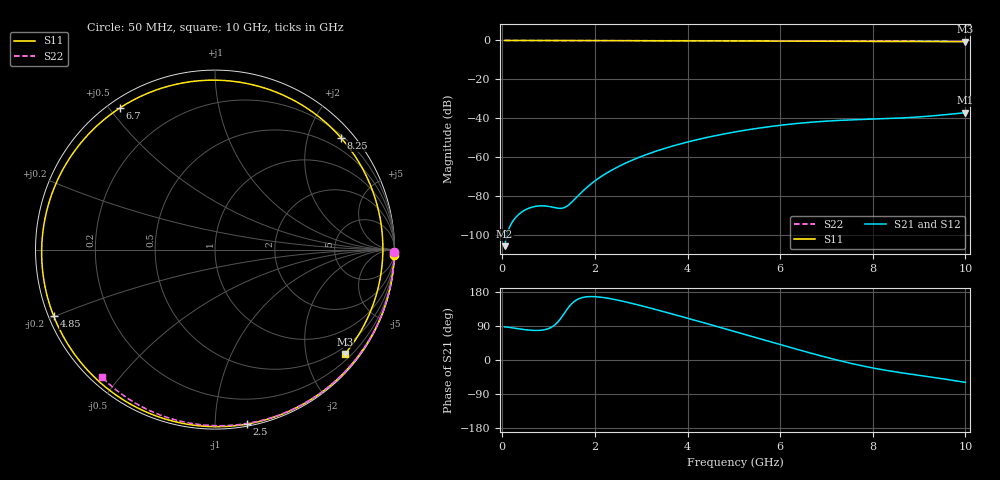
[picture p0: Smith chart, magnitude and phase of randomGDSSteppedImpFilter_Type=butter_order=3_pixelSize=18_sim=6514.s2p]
! freq	dB(S11)	phase(S11)	dB(S12)	phase(S12)
!  dB(S21)	phase(S21)	dB(S22)	phase(S22)
!S-par simulation data
#  GHz  S  DB  R 50
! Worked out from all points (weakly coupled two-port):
!   200 points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, 50 MHz to 10 GHz, reference 50 ohm
!   highest |S21| = -37.22 dB at 10 GHz (marker M1); lowest = -106.0 dB at 50 MHz (marker M2)
!   lowest |S11| = -0.6 dB at 10 GHz (marker M3), VSWR 26.90, Z = 16.7 - j140 ohm
!   |S11| at or under -10 dB: nowhere
!   |S22| runs from -0.4 to 0.0 dB; largest |S21 - S12| = 0
!   S11 on the Smith chart (normalised r, x): 50 MHz: 1, -70; 2.5 GHz: 0.01, -1.20; 4.85 GHz: 0.01, -0.20; 6.7 GHz: 0.03, +0.53; 8.25 GHz: 0.25, +2.62; 10 GHz: 0.33, -2.81
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0.05  -0.00 -1.6  -106.01 87.4  -106.01 87.4  -0.00 -0.8
0.8  -0.03 -25.8  -85.25 78.1  -85.25 78.1  -0.01 -12.1
1.6  -0.07 -51.3  -80.90 158.3  -80.90 158.3  -0.03 -24.0
1.75  -0.07 -56.0  -77.37 165.4  -77.37 165.4  -0.03 -26.2
2.1  -0.09 -67.1  -70.70 166.1  -70.70 166.1  -0.04 -31.3
2.5  -0.10 -79.7  -65.08 157.8  -65.08 157.8  -0.05 -37.1
3.4  -0.15 -108.3  -56.43 130.4  -56.43 130.4  -0.07 -49.9
4.1  -0.19 -131.3  -51.75 106.9  -51.75 106.9  -0.08 -59.5
4.85  -0.25 -157.5  -47.90 81.0  -47.90 81.0  -0.10 -69.6
5.05  -0.26 -164.9  -47.04 74.0  -47.04 74.0  -0.11 -72.2
5.5  -0.31 177.6  -45.31 58.3  -45.31 58.3  -0.13 -78.0
5.9  -0.35 160.9  -44.01 44.3  -44.01 44.3  -0.14 -83.1
6.3  -0.40 142.9  -42.94 30.4  -42.94 30.4  -0.16 -88.1
6.7  -0.44 123.7  -42.08 16.8  -42.08 16.8  -0.18 -93.1
7.1  -0.48 103.3  -41.43 3.9  -41.43 3.9  -0.20 -97.9
7.45  -0.51 84.7  -41.01 -6.6  -41.01 -6.6  -0.22 -102.1
7.85  -0.53 63.0  -40.66 -17.4  -40.66 -17.4  -0.25 -106.8
8.25  -0.55 41.5  -40.33 -26.6  -40.33 -26.6  -0.28 -111.5
8.35  -0.55 36.3  -40.24 -28.6  -40.24 -28.6  -0.29 -112.7
8.7  -0.57 18.3  -39.84 -35.3  -39.84 -35.3  -0.32 -116.7
9.1  -0.58 -1.0  -39.22 -42.2  -39.22 -42.2  -0.35 -121.3
10  -0.65 -38.8  -37.22 -59.0  -37.22 -59.0  -0.45 -131.4
